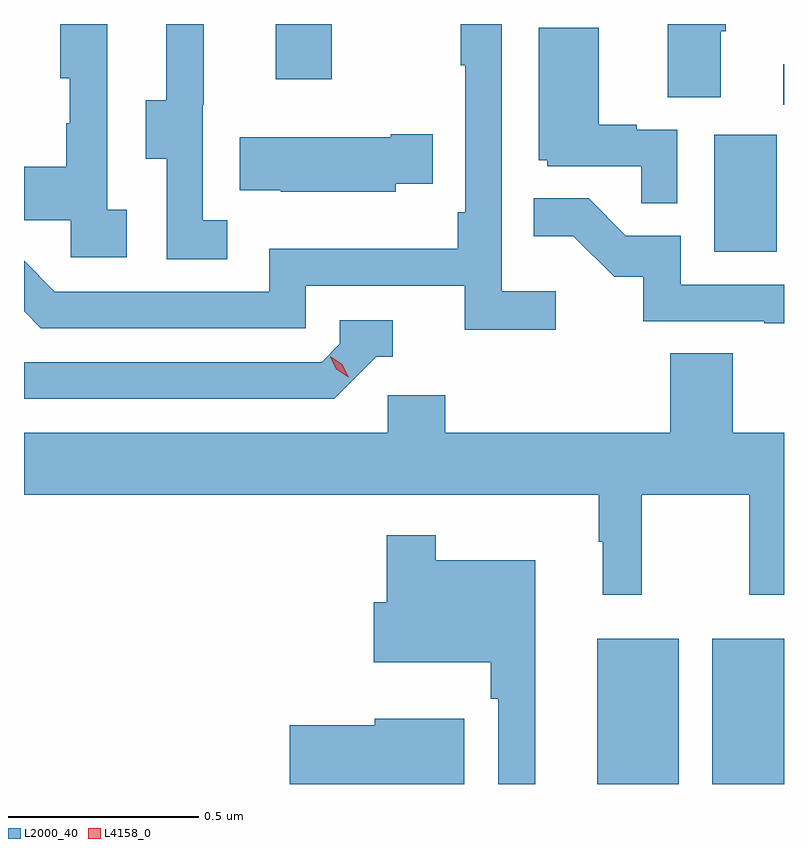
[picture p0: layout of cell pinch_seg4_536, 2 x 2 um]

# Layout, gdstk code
import gdstk
lib = gdstk.Library(unit=1e-6, precision=1e-09)
def R(c, l, rs):  # rectangles x0, y0, x1, y1
    for r in rs: c.add(gdstk.rectangle(r[:2], r[2:], *l))
def P(c, l, *ps):  # polygons
    for p in ps: c.add(gdstk.Polygon(p, *l))
L2000_40 = (2000, 40)
L4158_0 = (4158, 0)

pinch_seg4_536 = lib.new_cell('pinch_seg4_536')
R(pinch_seg4_536, L2000_40, [(1134.527,772.083,1134.742,772.465), (1134.83,772.083,1135.019,772.465), (1134.836,773.484,1135,773.791), (1135.017,773.871,1135.019,773.977), (1133.681,773.937,1133.829,774.083)])
P(pinch_seg4_536, L2000_40, [(1134.418,773.38),(1134.276,773.38),(1134.276,774.083),(1134.168,774.083),(1134.168,773.975),(1134.18,773.975),(1134.18,773.587),(1134.16,773.587),(1134.16,773.491),(1133.664,773.491),(1133.664,773.379),(1133.1,773.379),(1133.019,773.46),(1133.019,773.327),(1133.063,773.283),(1133.76,773.283),(1133.76,773.394),(1134.179,773.394),(1134.179,773.278),(1134.418,773.278)],
  [(1134.853,774.064),(1134.866,774.064),(1134.866,774.083),(1134.713,774.083),(1134.713,773.89),(1134.853,773.89)],
  [(1133.554,773.567),(1133.49,773.567),(1133.49,773.871),(1133.492,773.871),(1133.492,774.083),(1133.393,774.083),(1133.393,773.883),(1133.339,773.883),(1133.339,773.728),(1133.394,773.728),(1133.394,773.464),(1133.554,773.464)],
  [(1133.29,773.594),(1133.238,773.594),(1133.238,774.083),(1133.114,774.083),(1133.114,773.94),(1133.14,773.94),(1133.14,773.822),(1133.13,773.822),(1133.13,773.707),(1133.019,773.707),(1133.019,773.567),(1133.142,773.567),(1133.142,773.469),(1133.29,773.469)],
  [(1134.738,773.805),(1134.632,773.805),(1134.632,773.818),(1134.532,773.818),(1134.532,774.073),(1134.374,774.073),(1134.374,773.724),(1134.396,773.724),(1134.396,773.709),(1134.643,773.709),(1134.643,773.611),(1134.738,773.611)],
  [(1133.997,773.663),(1134.095,773.663),(1134.095,773.793),(1133.984,773.793),(1133.984,773.785),(1133.587,773.785),(1133.587,773.645),(1133.695,773.645),(1133.695,773.642),(1133.997,773.642)],
  [(1135.019,773.397),(1134.747,773.397),(1134.747,773.526),(1134.603,773.526),(1134.505,773.624),(1134.361,773.624),(1134.361,773.525),(1134.465,773.525),(1134.572,773.418),(1134.649,773.418),(1134.649,773.301),(1134.967,773.301),(1134.967,773.296),(1135.019,773.296)],
  [(1133.946,773.208),(1133.989,773.208),(1133.989,773.304),(1133.85,773.304),(1133.85,773.241),(1133.802,773.193),(1133.019,773.193),(1133.019,773.097),(1133.835,773.097)],
  [(1134.644,772.844),(1134.928,772.844),(1134.928,772.581),(1135.019,772.581),(1135.019,773.008),(1134.884,773.008),(1134.884,773.216),(1134.719,773.216),(1134.719,773.008),(1134.128,773.008),(1134.128,773.106),(1133.976,773.106),(1133.976,773.008),(1133.019,773.008),(1133.019,772.844),(1134.531,772.844),(1134.531,772.721),(1134.542,772.721),(1134.542,772.581),(1134.644,772.581)],
  [(1134.364,772.672),(1134.103,772.672),(1134.103,772.738),(1133.974,772.738),(1133.974,772.561),(1133.94,772.561),(1133.94,772.403),(1134.247,772.403),(1134.247,772.307),(1134.267,772.307),(1134.267,772.083),(1134.364,772.083)],
  [(1134.178,772.255),(1133.942,772.255),(1133.942,772.238),(1133.718,772.238),(1133.718,772.083),(1134.178,772.083)])
P(pinch_seg4_536, L4158_0, [(1133.872,773.154),(1133.841,773.174),(1133.825,773.206),(1133.825,773.207),(1133.826,773.207),(1133.856,773.187),(1133.873,773.154),(1133.873,773.154)])

lib.write_gds('pinch_seg4_536.gds')
